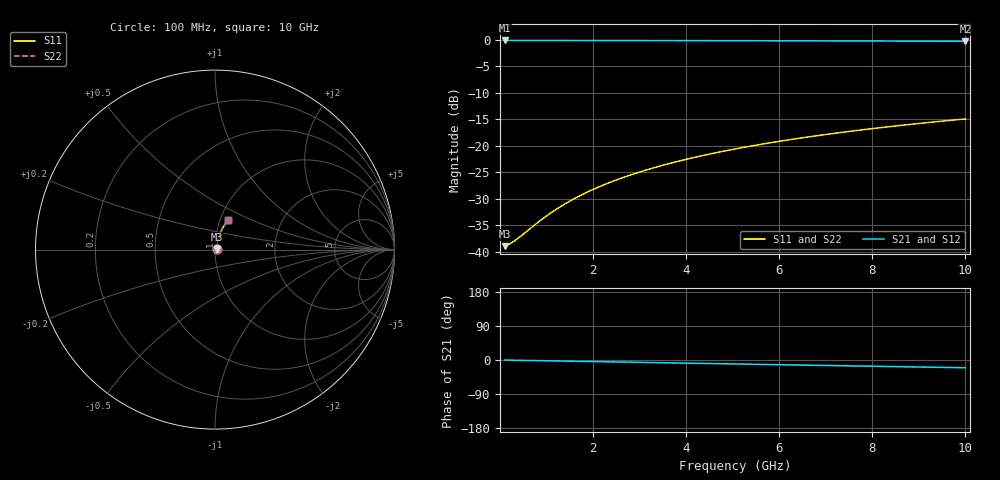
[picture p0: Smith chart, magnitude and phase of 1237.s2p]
# Hz S RI R 50.00
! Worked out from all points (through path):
!   100 points, 100 MHz to 10 GHz, reference 50 ohm
!   highest |S21| = -0.10 dB at 100 MHz (marker M1); lowest = -0.2 dB at 10 GHz (marker M2)
!   group delay of S21, straight-line fit = 5.7 ps
!   lowest |S11| = -38.9 dB at 100 MHz (marker M3), VSWR 1.02, Z = 51.1 + j0.185 ohm
!   |S11| at or under -10 dB: start of sweep to end of sweep
!   |S22| runs from -38.9 to -14.9 dB; largest |S21 - S12| = 0
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1e8  0.0111 0.00181  0.9889 -0.00358  0.9889 -0.00358  0.0111 0.00181
2e8  0.0112 0.00362  0.9888 -0.00715  0.9888 -0.00715  0.0112 0.00362
3e8  0.0113 0.00543  0.9887 -0.0107  0.9887 -0.0107  0.0113 0.00543
4e8  0.0114 0.00724  0.9886 -0.0143  0.9886 -0.0143  0.0114 0.00724
9e8  0.012 0.0163  0.9879 -0.0322  0.9879 -0.0322  0.012 0.0163
1.2e9  0.0125 0.0217  0.9873 -0.0429  0.9873 -0.0429  0.0125 0.0217
1.5e9  0.013 0.0271  0.9866 -0.0536  0.9866 -0.0536  0.013 0.0271
1.8e9  0.0137 0.0324  0.9857 -0.0642  0.9857 -0.0642  0.0137 0.0324
2.1e9  0.0145 0.0378  0.9847 -0.0749  0.9847 -0.0749  0.0145 0.0378
2.5e9  0.0158 0.0449  0.9832 -0.0891  0.9832 -0.0891  0.0158 0.0449
2.9e9  0.0172 0.052  0.9814 -0.1032  0.9814 -0.1032  0.0172 0.052
3.4e9  0.0193 0.0607  0.9788 -0.1208  0.9788 -0.1208  0.0193 0.0607
3.8e9  0.0212 0.0677  0.9764 -0.1348  0.9764 -0.1348  0.0212 0.0677
4.2e9  0.0233 0.0746  0.9738 -0.1488  0.9738 -0.1488  0.0233 0.0746
4.6e9  0.0256 0.0814  0.971 -0.1626  0.971 -0.1626  0.0256 0.0814
5.1e9  0.0287 0.0898  0.9671 -0.1799  0.9671 -0.1799  0.0287 0.0898
5.9e9  0.0344 0.1029  0.9601 -0.2072  0.9601 -0.2072  0.0344 0.1029
6.7e9  0.0407 0.1157  0.9521 -0.2341  0.9521 -0.2341  0.0407 0.1157
7.5e9  0.0477 0.1281  0.9433 -0.2606  0.9433 -0.2606  0.0477 0.1281
8.4e9  0.0564 0.1414  0.9323 -0.2899  0.9323 -0.2899  0.0564 0.1414
9.2e9  0.0648 0.1528  0.9216 -0.3154  0.9216 -0.3154  0.0648 0.1528
1e10  0.0738 0.1635  0.9102 -0.3403  0.9102 -0.3403  0.0738 0.1635
